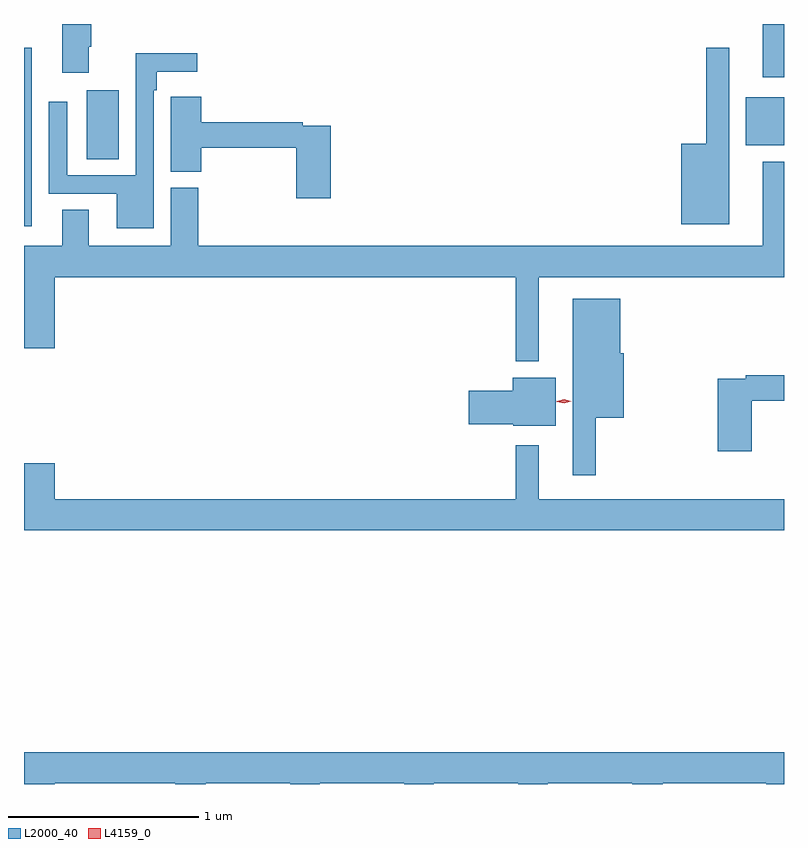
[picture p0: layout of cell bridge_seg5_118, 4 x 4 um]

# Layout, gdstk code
import gdstk
lib = gdstk.Library(unit=1e-6, precision=1e-09)
def R(c, l, rs):  # rectangles x0, y0, x1, y1
    for r in rs: c.add(gdstk.rectangle(r[:2], r[2:], *l))
def P(c, l, *ps):  # polygons
    for p in ps: c.add(gdstk.Polygon(p, *l))
L2000_40 = (2000, 40)
L4159_0 = (4159, 0)

bridge_seg5_118 = lib.new_cell('bridge_seg5_118')
R(bridge_seg5_118, L2000_40, [(464.71,855.696,464.752,856.636), (465.041,856.048,465.208,856.411), (468.509,856.121,468.71,856.375), (468.599,856.479,468.71,856.76)])
P(bridge_seg5_118, L2000_40, [(465.052,856.64),(465.065,856.64),(465.065,856.76),(464.912,856.76),(464.912,856.503),(465.052,856.503)],
  [(468.421,856.636),(468.3,856.636),(468.3,856.129),(468.17,856.129),(468.17,855.707),(468.421,855.707)],
  [(465.393,856.412),(465.409,856.412),(465.409,856.508),(465.622,856.508),(465.622,856.606),(465.297,856.606),(465.297,855.963),(464.937,855.963),(464.937,856.351),(464.841,856.351),(464.841,855.867),(465.197,855.867),(465.197,855.686),(465.393,855.686)],
  [(466.325,856.224),(466.178,856.224),(466.178,856.244),(465.644,856.244),(465.644,856.378),(465.483,856.378),(465.483,856.265),(465.482,856.265),(465.482,855.982),(465.644,855.982),(465.644,856.108),(466.142,856.108),(466.142,855.843),(466.325,855.843)],
  [(467.419,855.428),(468.71,855.428),(468.71,856.036),(468.599,856.036),(468.599,855.592),(465.626,855.592),(465.626,855.897),(465.482,855.897),(465.482,855.592),(465.052,855.592),(465.052,855.782),(464.912,855.782),(464.912,855.592),(464.71,855.592),(464.71,855.054),(464.872,855.054),(464.872,855.428),(467.298,855.428),(467.298,854.984),(467.419,854.984)],
  [(467.719,854.687),(467.866,854.687),(467.866,855.027),(467.848,855.027),(467.848,855.313),(467.597,855.313),(467.597,854.385),(467.719,854.385)],
  [(468.54,854.776),(468.71,854.776),(468.71,854.912),(468.508,854.912),(468.508,854.892),(468.362,854.892),(468.362,854.511),(468.54,854.511)],
  [(467.509,854.899),(467.282,854.899),(467.282,854.831),(467.052,854.831),(467.052,854.653),(467.286,854.653),(467.286,854.645),(467.509,854.645)],
  [(468.71,854.26),(467.419,854.26),(467.419,854.542),(467.298,854.542),(467.298,854.26),(464.872,854.26),(464.872,854.449),(464.71,854.449),(464.71,854.096),(468.71,854.096)],
  [(464.872,852.764),(465.506,852.764),(465.506,852.76),(465.666,852.76),(465.666,852.764),(466.111,852.764),(466.111,852.76),(466.266,852.76),(466.266,852.764),(466.711,852.764),(466.711,852.76),(466.866,852.76),(466.866,852.764),(467.311,852.764),(467.311,852.76),(467.466,852.76),(467.466,852.764),(467.911,852.764),(467.911,852.76),(468.071,852.76),(468.071,852.764),(468.617,852.764),(468.617,852.76),(468.71,852.76),(468.71,852.928),(464.71,852.928),(464.71,852.76),(464.872,852.76)])
P(bridge_seg5_118, L4159_0, [(467.553,854.764),(467.515,854.773),(467.515,854.774),(467.515,854.774),(467.553,854.784),(467.59,854.774),(467.59,854.774),(467.59,854.774)])

lib.write_gds('bridge_seg5_118.gds')
